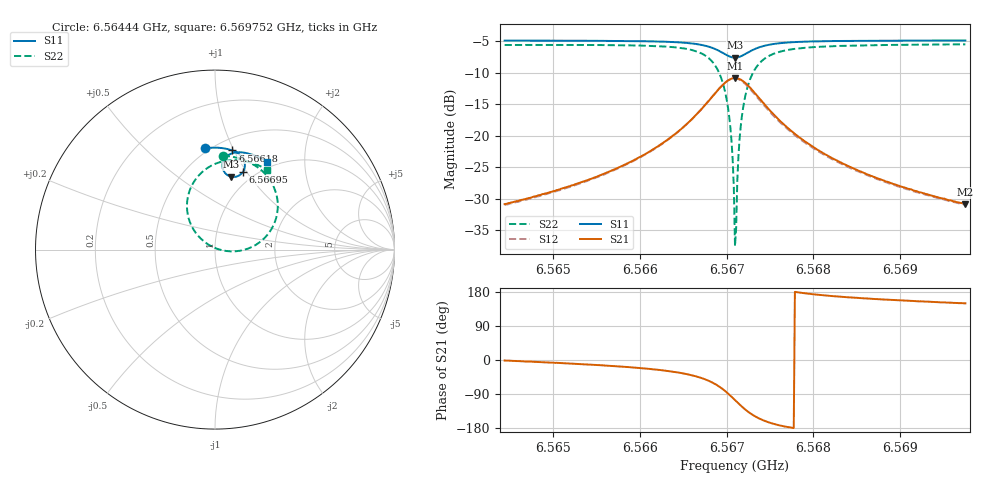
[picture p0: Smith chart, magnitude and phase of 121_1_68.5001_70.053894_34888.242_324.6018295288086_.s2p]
#  HZ  S  RI  R  50.00
! Rohde & Schwarz Vector Network Analyzer
! Rohde-Schwarz,ZNB20-2Port,1311601062101988,3.16
! Created: UTC 3/20/2024, 5:09:06 PM
! freq[Hz]  re:S11  im:S11  re:S21  im:S21  re:S12  im:S12  re:S22  im:S22
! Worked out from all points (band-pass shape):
!   401 points, 6.56444 GHz to 6.569752 GHz, reference 50 ohm
!   highest |S21| = -10.84 dB at 6.567096 GHz (marker M1); lowest = -30.9 dB at 6.569752 GHz (marker M2)
!   |S21| within 3 dB of the highest: 6.566832 GHz to 6.567362 GHz (530.1 kHz wide, 0.00807 % of centre)
!   lowest |S11| = -7.6 dB at 6.567096 GHz (marker M3), VSWR 2.43, Z = 41.6 + j40.9 ohm
!   |S11| at or under -10 dB: nowhere
!   |S22| runs from -37.6 to -5.5 dB; largest |S21 - S12| = 0.014
!   S11 on the Smith chart (normalised r, x): 6.56444 GHz: 0.47, +0.79; 6.56618 GHz: 0.61, +0.99; 6.56695 GHz: 0.88, +0.95; 6.569752 GHz: 0.91, +1.32
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6.5644405e9  -0.0564 0.5663  0.0286 -0.000635  0.0281 -0.00116  0.0435 0.5237
6.5653302e9  0.0168 0.5676  0.0419 -0.00827  0.0413 -0.00871  0.1285 0.5095
6.56618e9  0.0971 0.5522  0.0725 -0.034  0.0714 -0.0349  0.2423 0.4552
6.5662198e9  0.1013 0.5504  0.0749 -0.0367  0.0738 -0.0376  0.2494 0.4496
6.5665252e9  0.137 0.5293  0.0973 -0.0721  0.0958 -0.0736  0.3113 0.3797
6.5667377e9  0.1616 0.4959  0.1102 -0.1305  0.1077 -0.133  0.3491 0.2676
6.5668572e9  0.1662 0.4626  0.0996 -0.1884  0.0947 -0.1919  0.3346 0.1568
6.5669502e9  0.1539 0.4302  0.0609 -0.2437  0.0525 -0.2468  0.2644 0.0536
6.5670298e9  0.1244 0.4085  -0.00636 -0.2783  -0.0182 -0.2776  0.1406 -0.00611
6.5670564e9  0.1112 0.4053  -0.0346 -0.2818  -0.0469 -0.279  0.0897 -0.00993
6.5670829e9  0.0973 0.4051  -0.0638 -0.2796  -0.076 -0.2747  0.0378 -0.00309
6.5670962e9  0.0903 0.4063  -0.0783 -0.2763  -0.0903 -0.2703  0.0125 0.00429
6.5671095e9  0.0836 0.4081  -0.0922 -0.2716  -0.1038 -0.2646  -0.0117 0.0142
6.5671228e9  0.0771 0.4108  -0.1058 -0.2655  -0.1167 -0.2575  -0.0348 0.0268
6.5671493e9  0.0654 0.4181  -0.1302 -0.2497  -0.1397 -0.2402  -0.0753 0.0576
6.5671892e9  0.0519 0.4326  -0.1587 -0.2202  -0.1655 -0.2088  -0.1207 0.1135
6.5672423e9  0.0426 0.4548  -0.1805 -0.1759  -0.1836 -0.1643  -0.1515 0.1936
6.5673087e9  0.0425 0.4808  -0.1866 -0.1253  -0.1863 -0.1151  -0.1531 0.2825
6.5675477e9  0.0801 0.5302  -0.1433 -0.0281  -0.1402 -0.0238  -0.0548 0.4458
6.5679859e9  0.1432 0.5423  -0.0819 0.00883  -0.0799 0.0101  0.0832 0.4978
6.5688756e9  0.2269 0.522  -0.0396 0.0153  -0.0387 0.0155  0.2136 0.4805
6.5697519e9  0.292 0.4905  -0.0246 0.0144  -0.0241 0.0146  0.2914 0.4449
